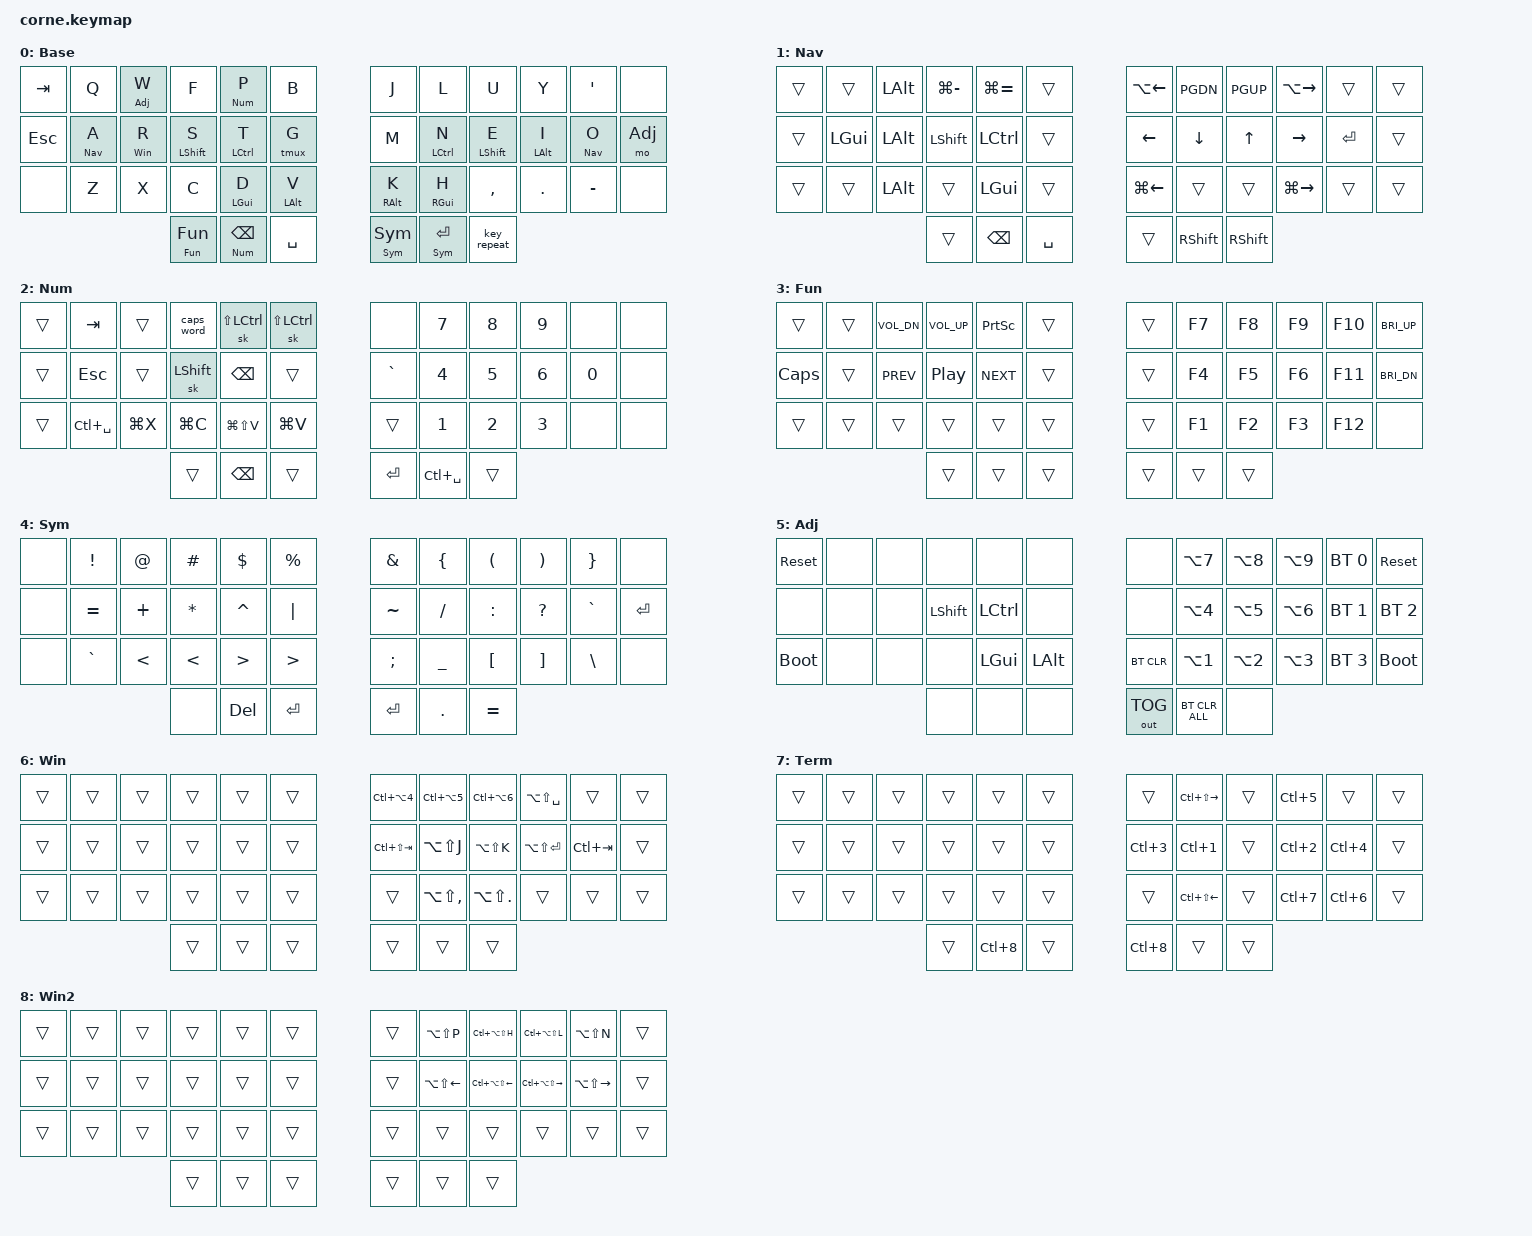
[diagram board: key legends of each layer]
/*
 * Copyright (c) 2020 The ZMK Contributors
 *
 * SPDX-License-Identifier: MIT
 */
#include <behaviors.dtsi>
#include <dt-bindings/zmk/keys.h>
#include <dt-bindings/zmk/bt.h>
#include <dt-bindings/zmk/outputs.h>

#define Default 0 
#define Nav 1
#define Num 2
#define Fun 3
#define Sym 4
#define Adj 5
#define Win 6
#define tmux 7
#define Win2 8

&sk {
    release-after-ms = <800>;
    quick-release;
};

&sl {
    release-after-ms = <800>;
  };

/ {
    behaviors {
        llm: left_hand_homerow_mods {
            compatible = "zmk,behavior-hold-tap";
            label = "left_home_row_mod";
            #binding-cells = <2>;
            tapping-term-ms = <300>;
            quick-tap-ms = <0>;
            flavor = "balanced";
            require-prior-idle-ms = <125>;
            bindings = <&kp>, <&kp>;
            hold-trigger-key-positions = <6 7 8 9 10 11   18 19 20 21 22 23    30 31 32 33 34 35    36 37 38 39 40 41>;
            hold-trigger-on-release;
        };

        lly: left_hand_homerow_layer {
            compatible = "zmk,behavior-hold-tap";
            label = "left_home_row_layer";
            #binding-cells = <2>;
            tapping-term-ms = <300>;
            quick-tap-ms = <0>;
            flavor = "balanced";
            require-prior-idle-ms = <125>;
            bindings = <&mo>, <&kp>;
            hold-trigger-key-positions = <6 7 8 9 10 11   18 19 20 21 22 23    30 31 32 33 34 35    36 37 38 39 40 41>;
            hold-trigger-on-release;
        };

        rrm: right_hand_homerow_mods {
            compatible = "zmk,behavior-hold-tap";
            label = "right_home_row_mod";
            #binding-cells = <2>;
            tapping-term-ms = <300>;
            quick-tap-ms = <0>;
            flavor = "balanced";
            require-prior-idle-ms = <125>;
            bindings = <&kp>, <&kp>;
            hold-trigger-key-positions = <0 1 2 3 4 5    12 13 14 15 16 17    24 25 26 27 28 29    36 37 38 39 40 41>;
            hold-trigger-on-release;
        };

        rry: right_hand_homerow_layer {
            compatible = "zmk,behavior-hold-tap";
            label = "right_home_row_layer";
            #binding-cells = <2>;
            tapping-term-ms = <300>;
            quick-tap-ms = <0>;
            flavor = "balanced";
            require-prior-idle-ms = <125>;
            bindings = <&mo>, <&kp>;
            hold-trigger-key-positions = <0 1 2 3 4 5    12 13 14 15 16 17    24 25 26 27 28 29    36 37 38 39 40 41>;
            hold-trigger-on-release;
        };

        ltsl: layer_toogle_sticky_layer {
            compatible = "zmk,behavior-hold-tap"; 
            label = "LAYER_TOGGLE_STICKY_LAYER";
            #binding-cells = <2>;
            tapping-term-ms = <200>; 
            bindings = <&mo>, <&sl>;
        }; 


        ltsk: layer_toogle_sticky_key {
            compatible = "zmk,behavior-hold-tap"; 
            label = "SOMETHING";
            #binding-cells = <2>;
            tapping-term-ms = <200>; 
            bindings = <&mo>, <&sk>;
          };


        msk: mod_sticky_key {
            compatible = "zmk,behavior-hold-tap"; 
            label = "SOMETHING";
            #binding-cells = <2>;
            tapping-term-ms = <200>; 
            bindings = <&kp>, <&sk>;
          };
    };

    keymap {
                compatible = "zmk,keymap";
                default_layer {
                        display-name = "Base";
                        bindings = <
        &kp TAB       &kp Q       &lly Adj W &kp F            &lly Num P    &kp B       /**/  &kp J      &kp L         &kp U          &kp Y        &kp SQT    &none
        &kp ESC       &lly Nav A  &lly Win R  &llm LSHFT S     &llm LCTRL T  &lly tmux G /**/  &kp M      &rrm LCTRL N  &rrm LSHFT E   &rrm LALT I  &lt Nav O  &mo Adj
        &none         &kp Z       &kp X       &kp C            &llm LGUI D   &llm LALT V /**/  &rrm RALT K &rrm RGUI H  &kp COMMA      &kp DOT      &kp MINUS  &none
                &ltsl Fun Fun           &lt Num BSPC           &kp SPACE                 /**/  &ltsl Sym Sym    &lt Sym RET  &key_repeat
        >;
        };

                nav_layer {
                        display-name = "Nav";
                        bindings = <
        &trans &trans   &kp LALT &kp LG(MINUS) &kp LG(EQUAL) &trans /**/ &kp LA(LEFT)  &kp PGDN   &kp PGUP   &kp LA(RIGHT)  &trans     &trans
        &trans &kp LGUI &kp LALT &kp LSHFT     &kp LCTRL     &trans /**/ &kp LEFT      &kp DOWN   &kp UP     &kp RIGHT      &kp RET    &trans
        &trans &trans   &kp LALT &trans        &kp LGUI      &trans /**/ &kp LG(LEFT)  &trans     &trans     &kp LG(RIGHT)  &trans     &trans
                   &trans          &kp BSPC     &kp SPACE           /**/   &trans      &kp RSHFT  &kp RSHFT
        >;
        };

                num_layer {
                        display-name = "Num";
                        bindings = <
        &trans     &kp TAB       &trans     &caps_word &sk LS(LCTRL) &sk LS(LCTRL) /**/ &none     &kp N7    &kp N8   &kp N9     &none      &none
        &trans     &kp ESC       &trans     &sk LSHFT  &kp BSPC      &trans        /**/ &kp GRAVE &kp N4    &kp N5   &kp N6     &kp N0     &none
        &trans     &kp LC(SPACE) &kp LG(X)  &kp LG(C)  &kp LG(LS(V)) &kp LG(V)     /**/ &trans    &kp N1    &kp N2   &kp N3     &none      &none
                                        &trans     &kp BSPC   &trans               /**/   &kp RET     &kp LC(SPACE)   &trans
        >;
        };

                fun_layer {
                        display-name = "Fun";
                        bindings = <
        &trans     &trans     &kp C_VOL_DN   &kp C_VOL_UP  &kp PSCRN    &trans /**/ &trans     &kp F7    &kp F8   &kp F9     &kp F10   &kp C_BRI_UP
        &kp CAPS   &trans     &kp C_PREV     &kp C_PP      &kp C_NEXT   &trans /**/ &trans     &kp F4    &kp F5   &kp F6     &kp F11   &kp C_BRI_DN
        &trans     &trans     &trans         &trans        &trans       &trans /**/ &trans     &kp F1    &kp F2   &kp F3     &kp F12   &none
                                                  &trans     &trans     &trans /**/  &trans          &trans     &trans
        >;
        };

                symbol_layer {
                        display-name = "Sym";
                        bindings = <
        &none  &kp EXCL   &kp AT     &kp HASH   &kp DOLLAR &kp PRCNT   /**/ &kp AMPS   &kp LBRC   &kp LPAR   &kp RPAR   &kp RBRC   &none
        &none  &kp EQUAL  &kp PLUS   &kp STAR   &kp CARET  &kp PIPE    /**/ &kp TILDE  &kp SLASH  &kp COLON  &kp QMARK  &kp GRAVE  &kp RET
        &none  &kp GRAVE  &kp LT     &kp LT     &kp GT     &kp GT      /**/ &kp SEMI   &kp UNDER  &kp LBKT   &kp RBKT   &kp BSLH   &none
                                   &none   &kp DEL   &kp RET           /**/ &kp RET     &kp DOT    &kp EQUAL
        >;
        };
                adjust_layer {
                        display-name = "Adj";
                        bindings = <
        &sys_reset  &none   &none   &none      &none      &none     /**/ &none      &kp LA(N7)  &kp LA(N8)  &kp LA(N9)  &bt BT_SEL 0  &sys_reset
        &none       &none   &none   &kp LSHFT  &kp LCTRL  &none     /**/ &none      &kp LA(N4)  &kp LA(N5)  &kp LA(N6)  &bt BT_SEL 1  &bt BT_SEL 2
        &bootloader &none   &none   &none      &kp LGUI   &kp LALT  /**/ &bt BT_CLR &kp LA(N1)  &kp LA(N2)  &kp LA(N3)  &bt BT_SEL 3  &bootloader
                                        &none      &none    &none  /**/   &out OUT_TOG   &bt BT_CLR_ALL    &none
        >;
        };
                window_layer {
                        display-name = "Win";
                        bindings = <
        &trans &trans &trans &trans &trans &trans /**/ &kp LC(LA(N4))  &kp LC(LA(N5))     &kp LC(LA(N6))  &kp LA(LS(SPACE)) &trans      &trans
        &trans &trans &trans &trans &trans &trans /**/ &kp LC(LS(TAB)) &kp LA(LS(J))      &kp LA(LS(K))   &kp LA(LS(RET))   &kp LC(TAB) &trans
        &trans &trans &trans &trans &trans &trans /**/ &trans          &kp LA(LS(COMMA))  &kp LA(LS(DOT)) &trans            &trans      &trans
                                        &trans     &trans   &trans    /**/   &trans    &trans     &trans
        >;
        };
                tmux_layer {
                        display-name = "Term";
                        bindings = <
        &trans &trans &trans &trans &trans &trans /**/ &trans      &kp LC(LS(RIGHT)) &trans &kp LC(N5) &trans     &trans
        &trans &trans &trans &trans &trans &trans /**/ &kp LC(N3)  &kp LC(N1)        &trans &kp LC(N2) &kp LC(N4) &trans
        &trans &trans &trans &trans &trans &trans /**/ &trans      &kp LC(LS(LEFT))  &trans &kp LC(N7) &kp LC(N6) &trans
                                        &trans     &kp LC(N8)   &trans /**/   &kp LC(N8)   &trans   &trans
        >;
        };
                window2_layer {
                        display-name = "Win2";
                        bindings = <
        &trans &trans &trans &trans &trans &trans /**/ &trans &kp LA(LS(P))    &kp LC(LA(LS(H)))     &kp LC(LA(LS(L)))     &kp LA(LS(N))      &trans
        &trans &trans &trans &trans &trans &trans /**/ &trans &kp LA(LS(LEFT)) &kp LC(LA(LS(LEFT)))  &kp LC(LA(LS(RIGHT))) &kp LA(LS(RIGHT))  &trans
        &trans &trans &trans &trans &trans &trans /**/ &trans &trans           &trans                &trans                &trans             &trans
                                        &trans     &trans   &trans /**/   &trans   &trans   &trans
        >;
        };
    };
};
